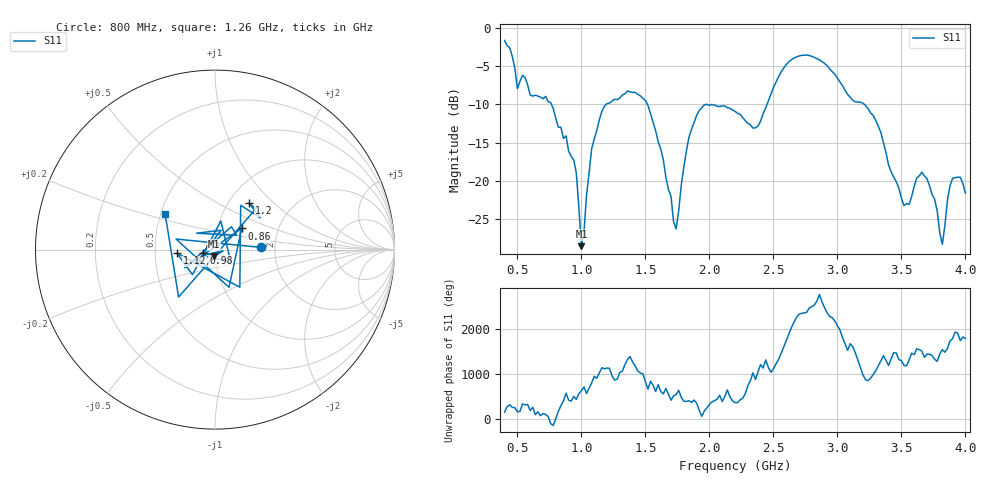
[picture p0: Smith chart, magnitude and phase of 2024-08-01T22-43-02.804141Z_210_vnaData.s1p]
!Created with skrf (http://scikit-rf.org).
# Hz S RI R 50.0
!freq ReS11 ImS11
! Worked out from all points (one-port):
!   181 points, 400 MHz to 4 GHz, reference 50 ohm
!   lowest |S11| = -28.5 dB at 1 GHz (marker M1), VSWR 1.08, Z = 49.4 - j3.68 ohm
!   |S11| at or under -10 dB: 1.516 GHz to 1.974 GHz (458.1 MHz wide, 26.2 % of centre); 1.984 GHz to 2.45 GHz (466.4 MHz wide, 21 % of centre); 3.211 GHz to end of sweep (the widest 3 of 4)
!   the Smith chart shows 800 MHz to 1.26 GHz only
!   S11 on the Smith chart (normalised r, x): 800 MHz: 1.69, +0.04; 860 MHz: 1.30, +0.32; 980 MHz: 0.88, -0.03; 1.12 GHz: 0.65, -0.03; 1.2 GHz: 1.24, +0.71; 1.26 GHz: 0.53, +0.24
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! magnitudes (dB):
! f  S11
! 400 MHz  -1.6
! 500 MHz  -7.9
! 800 MHz  -11.8
! 860 MHz  -14.4
! 940 MHz  -17.2
! 980 MHz  -23.4
! 1 GHz  -28.5
! 1.08 GHz  -15.8
! 1.12 GHz  -13.4
! 1.2 GHz  -9.9
! 1.26 GHz  -9.3
! 1.3 GHz  -9.1
! 1.5 GHz  -9.5
! 1.72 GHz  -25.3
! 1.76 GHz  -23.9
! 1.84 GHz  -14.3
! 1.92 GHz  -10.8
! 2.2 GHz  -10.9
! 2.38 GHz  -12.8
! 2.66 GHz  -3.9
! 3.1 GHz  -9.1
! 3.28 GHz  -11.4
! 3.56 GHz  -23.1
! 3.66 GHz  -18.9
! 3.76 GHz  -22.4
! 3.82 GHz  -28.3
! 3.9 GHz  -19.7
! 4 GHz  -21.6
